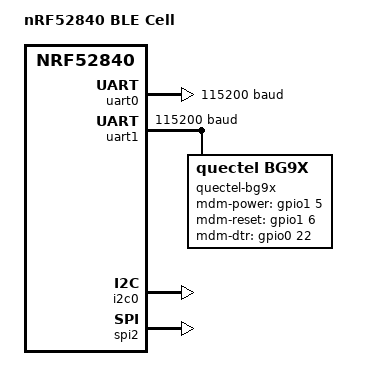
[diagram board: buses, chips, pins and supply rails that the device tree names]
/*
 * Copyright (c) 2020 Analog Life LLC
 *
 * SPDX-License-Identifier: Apache-2.0
 */

/dts-v1/;
#include <nordic/nrf52840_qiaa.dtsi>
#include "contextualelectronics_abc-pinctrl.dtsi"

/ {
	model = "nRF52840 BLE Cell";
	compatible = "nordic,nrf52840-ble-cell";

	chosen {
		zephyr,console = &uart0;
		zephyr,shell-uart = &uart0;
		zephyr,sram = &sram0;
		zephyr,flash = &flash0;
		zephyr,code-partition = &slot0_partition;
	};
};

&gpiote {
	status = "okay";
};

&gpio0 {
	status = "okay";
};

&gpio1 {
	status = "okay";
};

&uart0 {
	compatible = "nordic,nrf-uart";
	status = "okay";
	current-speed = <115200>;

	pinctrl-0 = <&uart0_default>;
	pinctrl-1 = <&uart0_sleep>;
	pinctrl-names = "default", "sleep";
};

arduino_serial: &uart1 {
	status = "okay";
	current-speed = <115200>;

	/* UART Pin info. */

	/* Use hardware flow control. */
	hw-flow-control;

	/* BG9x description. */
	pinctrl-0 = <&uart1_default>;
	pinctrl-1 = <&uart1_sleep>;
	pinctrl-names = "default", "sleep";
	quectel_bg9x {
		compatible = "quectel,bg9x";
		label      = "quectel-bg9x";
		status     = "okay";

		mdm-power-gpios = <&gpio1 5  0>;
		mdm-reset-gpios = <&gpio1 6  0>;
		mdm-dtr-gpios   = <&gpio0 22 0>;
	};
};

arduino_i2c: &i2c0 {
	compatible = "nordic,nrf-twi";
	status = "okay";
	pinctrl-0 = <&i2c0_default>;
	pinctrl-1 = <&i2c0_sleep>;
	pinctrl-names = "default", "sleep";
};

&spi2 {
	compatible = "nordic,nrf-spi";
	status = "okay";

	/* This SPI device is interfaced with the SD card. */
	pinctrl-0 = <&spi2_default>;
	pinctrl-1 = <&spi2_sleep>;
	pinctrl-names = "default", "sleep";
};

&flash0 {

	partitions {
		compatible = "fixed-partitions";
		#address-cells = <1>;
		#size-cells = <1>;

		boot_partition: partition@0 {
			label = "mcuboot";
			reg = <0x00000000 0x0000C000>;
		};
		slot0_partition: partition@c000 {
			label = "image-0";
			reg = <0x0000C000 0x00067000>;
		};
		slot1_partition: partition@73000 {
			label = "image-1";
			reg = <0x00073000 0x00067000>;
		};
		scratch_partition: partition@da000 {
			label = "image-scratch";
			reg = <0x000da000 0x0001e000>;
		};

		/*
		 * The flash starting at 0x000f8000 and ending at
		 * 0x000fffff is reserved for use by the application.
		 */

		/*
		 * Storage partition will be used by FCB/LittleFS/NVS
		 * if enabled.
		 */
		storage_partition: partition@f8000 {
			label = "storage";
			reg = <0x000f8000 0x00008000>;
		};
	};
};
